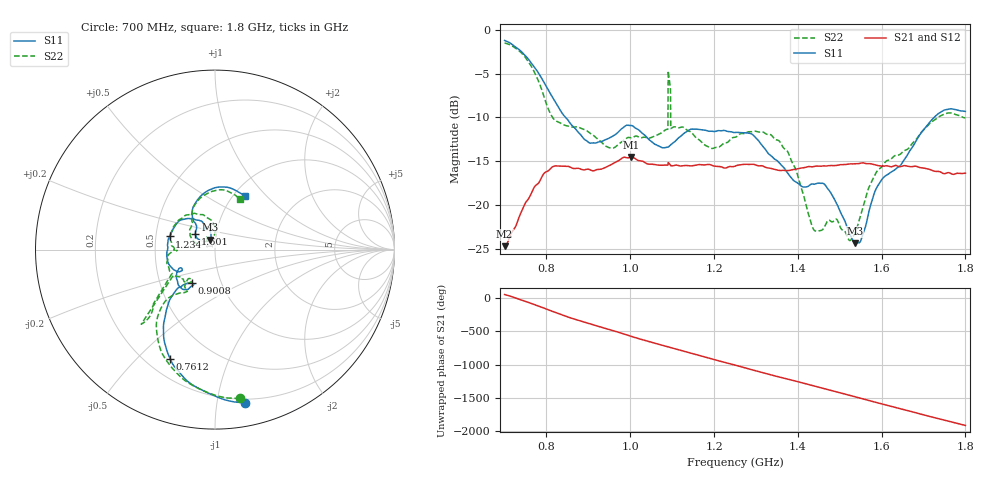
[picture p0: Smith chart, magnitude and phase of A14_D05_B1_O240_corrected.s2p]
! Created with skrf 1.9.0 (http://scikit-rf.org).
# Hz S RI R 50.0
!freq ReS11 ImS11 ReS21 ImS21 ReS12 ImS12 ReS22 ImS22
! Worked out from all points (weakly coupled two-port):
!   1601 points, 700 MHz to 1.8 GHz, reference 50 ohm
!   highest |S21| = -14.52 dB at 1.002 GHz (marker M1); lowest = -24.7 dB at 700 MHz (marker M2)
!   lowest |S11| = -24.4 dB at 1.537 GHz (marker M3), VSWR 1.13, Z = 47.2 + j5.2 ohm
!   |S11| at or under -10 dB: 845.7 MHz to 1.725 GHz (879.5 MHz wide, 68.4 % of centre)
!   |S22| runs from -24.1 to -1.5 dB; largest |S21 - S12| = 0.0035
!   S11 on the Smith chart (normalised r, x): 700 MHz: 0.17, -1.20; 761.2 MHz: 0.29, -0.63; 900.8 MHz: 0.72, -0.28; 1.234 GHz: 0.59, +0.09; 1.601 GHz: 0.79, +0.14; 1.8 GHz: 1.12, +0.76
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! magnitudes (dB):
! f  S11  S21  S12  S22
! 700 MHz  -1.2  -24.7  -24.5  -1.5
! 761.2 MHz  -3.6  -18.9  -18.8  -4.0
! 816.9 MHz  -7.9  -15.6  -15.7  -10.2
! 883.6 MHz  -12.1  -15.9  -15.8  -11.3
! 900.8 MHz  -12.9  -15.9  -15.9  -11.7
! 953.7 MHz  -12.3  -15.4  -15.4  -13.5
! 1.002 GHz  -10.9  -14.5  -14.6  -12.3
! 1.067 GHz  -13.2  -15.4  -15.4  -11.9
! 1.084 GHz  -13.4  -15.4  -15.4  -11.4
! 1.096 GHz  -13.1  -15.4  -15.4  -6.8
! 1.102 GHz  -12.9  -15.5  -15.4  -11.1
! 1.234 GHz  -11.6  -15.7  -15.7  -12.8
! 1.25 GHz  -11.7  -15.6  -15.5  -12.3
! 1.357 GHz  -15.2  -16.1  -16.0  -12.7
! 1.395 GHz  -17.4  -15.9  -15.9  -15.9
! 1.434 GHz  -17.6  -15.6  -15.6  -22.3
! 1.471 GHz  -18.1  -15.5  -15.5  -21.8
! 1.537 GHz  -24.4  -15.3  -15.3  -23.2
! 1.601 GHz  -17.1  -15.5  -15.5  -15.6
! 1.617 GHz  -16.4  -15.6  -15.5  -14.9
! 1.733 GHz  -9.6  -16.1  -16.2  -10.0
! 1.8 GHz  -9.3  -16.4  -16.3  -10.1
